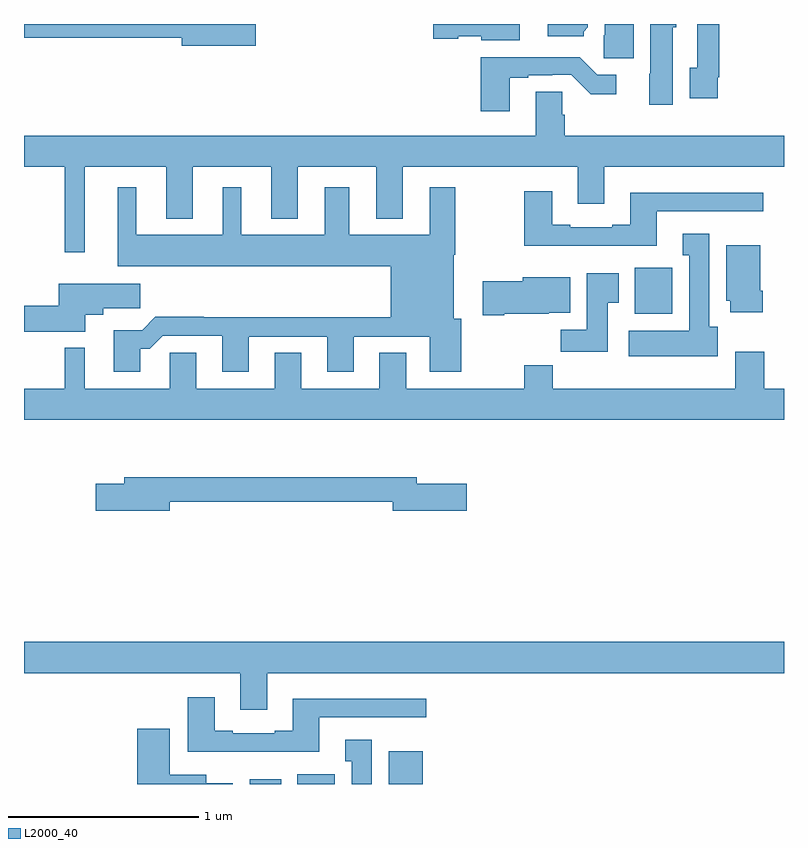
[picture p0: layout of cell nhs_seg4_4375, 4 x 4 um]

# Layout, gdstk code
import gdstk
lib = gdstk.Library(unit=1e-6, precision=1e-09)
def R(c, l, rs):  # rectangles x0, y0, x1, y1
    for r in rs: c.add(gdstk.rectangle(r[:2], r[2:], *l))
def P(c, l, *ps):  # polygons
    for p in ps: c.add(gdstk.Polygon(p, *l))
L2000_40 = (2000, 40)

nhs_seg4_4375 = lib.new_cell('nhs_seg4_4375')
R(nhs_seg4_4375, L2000_40, [(346.187,798.9,346.354,798.925), (346.439,798.9,346.636,798.952), (346.919,798.9,347.098,799.072), (348.215,801.374,348.412,801.616)])
P(nhs_seg4_4375, L2000_40, [(348.415,802.884),(348.433,802.884),(348.433,802.9),(348.296,802.9),(348.296,802.638),(348.29,802.638),(348.29,802.476),(348.415,802.476)],
  [(348.652,802.621),(348.659,802.621),(348.659,802.9),(348.543,802.9),(348.543,802.67),(348.503,802.67),(348.503,802.509),(348.652,802.509)],
  [(347.946,802.86),(347.968,802.882),(347.968,802.9),(347.756,802.9),(347.756,802.835),(347.946,802.835)],
  [(347.608,802.9),(347.154,802.9),(347.154,802.823),(347.286,802.823),(347.286,802.835),(347.406,802.835),(347.406,802.814),(347.608,802.814)],
  [(346.219,802.9),(345,802.9),(345,802.828),(345.83,802.828),(345.83,802.786),(346.219,802.786)],
  [(348.208,802.9),(348.056,802.9),(348.056,802.842),(348.052,802.842),(348.052,802.719),(348.208,802.719)],
  [(347.557,802.617),(347.653,802.617),(347.653,802.629),(347.78,802.629),(347.78,802.632),(347.88,802.632),(347.983,802.53),(348.118,802.53),(348.118,802.632),(348.018,802.632),(347.924,802.726),(347.405,802.726),(347.405,802.44),(347.557,802.44)],
  [(345.319,802.148),(345.749,802.148),(345.749,801.875),(345.889,801.875),(345.889,802.148),(346.301,802.148),(346.301,801.875),(346.441,801.875),(346.441,802.148),(346.853,802.148),(346.853,801.875),(346.993,801.875),(346.993,802.148),(347.915,802.148),(347.915,801.954),(348.055,801.954),(348.055,802.148),(349,802.148),(349,802.312),(347.846,802.312),(347.846,802.422),(347.832,802.422),(347.832,802.544),(347.693,802.544),(347.693,802.312),(345,802.312),(345,802.148),(345.215,802.148),(345.215,801.699),(345.319,801.699)],
  [(345.613,801.191),(345.662,801.191),(345.729,801.258),(346.043,801.258),(346.043,801.069),(346.183,801.069),(346.183,801.255),(346.595,801.255),(346.595,801.069),(346.735,801.069),(346.735,801.255),(347.135,801.255),(347.135,801.069),(347.3,801.069),(347.3,801.348),(347.263,801.348),(347.263,801.686),(347.271,801.686),(347.271,802.042),(347.135,802.042),(347.135,801.79),(346.711,801.79),(346.711,802.042),(346.583,802.042),(346.583,801.79),(346.144,801.79),(346.144,802.042),(346.046,802.042),(346.046,801.79),(345.592,801.79),(345.592,802.042),(345.494,802.042),(345.494,801.626),(346.931,801.626),(346.931,801.356),(345.947,801.356),(345.947,801.359),(345.692,801.359),(345.622,801.289),(345.473,801.289),(345.473,801.069),(345.613,801.069)],
  [(348.331,801.915),(348.892,801.915),(348.892,802.012),(348.191,802.012),(348.191,801.844),(348.095,801.844),(348.095,801.831),(347.875,801.831),(347.875,801.844),(347.779,801.844),(347.779,802.021),(347.632,802.021),(347.632,801.734),(348.331,801.734)],
  [(348.652,801.306),(348.607,801.306),(348.607,801.796),(348.467,801.796),(348.467,801.683),(348.5,801.683),(348.5,801.286),(348.183,801.286),(348.183,801.152),(348.652,801.152)],
  [(348.887,801.496),(348.874,801.496),(348.874,801.736),(348.695,801.736),(348.695,801.444),(348.716,801.444),(348.716,801.384),(348.887,801.384)],
  [(348.073,801.433),(348.13,801.433),(348.13,801.589),(347.963,801.589),(347.963,801.292),(347.824,801.292),(347.824,801.174),(348.073,801.174)],
  [(347.527,801.374),(347.763,801.374),(347.763,801.38),(347.875,801.38),(347.875,801.568),(347.624,801.568),(347.624,801.545),(347.415,801.545),(347.415,801.367),(347.527,801.367)],
  [(345.322,801.371),(345.418,801.371),(345.418,801.403),(345.613,801.403),(345.613,801.532),(345.182,801.532),(345.182,801.416),(345,801.416),(345,801.281),(345.322,801.281)],
  [(349,800.98),(348.896,800.98),(348.896,801.175),(348.743,801.175),(348.743,800.98),(347.783,800.98),(347.783,801.104),(347.632,801.104),(347.632,800.98),(347.011,800.98),(347.011,801.17),(346.871,801.17),(346.871,800.98),(346.459,800.98),(346.459,801.17),(346.319,801.17),(346.319,800.98),(345.907,800.98),(345.907,801.17),(345.768,801.17),(345.768,800.98),(345.319,800.98),(345.319,801.196),(345.215,801.196),(345.215,800.98),(345,800.98),(345,800.816),(349,800.816)],
  [(345.766,800.386),(346.94,800.386),(346.94,800.339),(347.329,800.339),(347.329,800.481),(347.068,800.481),(347.068,800.515),(345.527,800.515),(345.527,800.481),(345.378,800.481),(345.378,800.339),(345.766,800.339)],
  [(346.279,799.484),(349,799.484),(349,799.648),(345,799.648),(345,799.484),(346.139,799.484),(346.139,799.29),(346.279,799.29)],
  [(346.555,799.251),(347.116,799.251),(347.116,799.348),(346.415,799.348),(346.415,799.18),(346.319,799.18),(346.319,799.167),(346.099,799.167),(346.099,799.18),(346.003,799.18),(346.003,799.357),(345.863,799.357),(345.863,799.07),(346.555,799.07)],
  [(346.099,798.904),(345.958,798.904),(345.958,798.949),(345.766,798.949),(345.766,799.192),(345.596,799.192),(345.596,798.9),(346.099,798.9)],
  [(346.831,799.132),(346.691,799.132),(346.691,799.019),(346.724,799.019),(346.724,798.9),(346.831,798.9)])

lib.write_gds('nhs_seg4_4375.gds')
